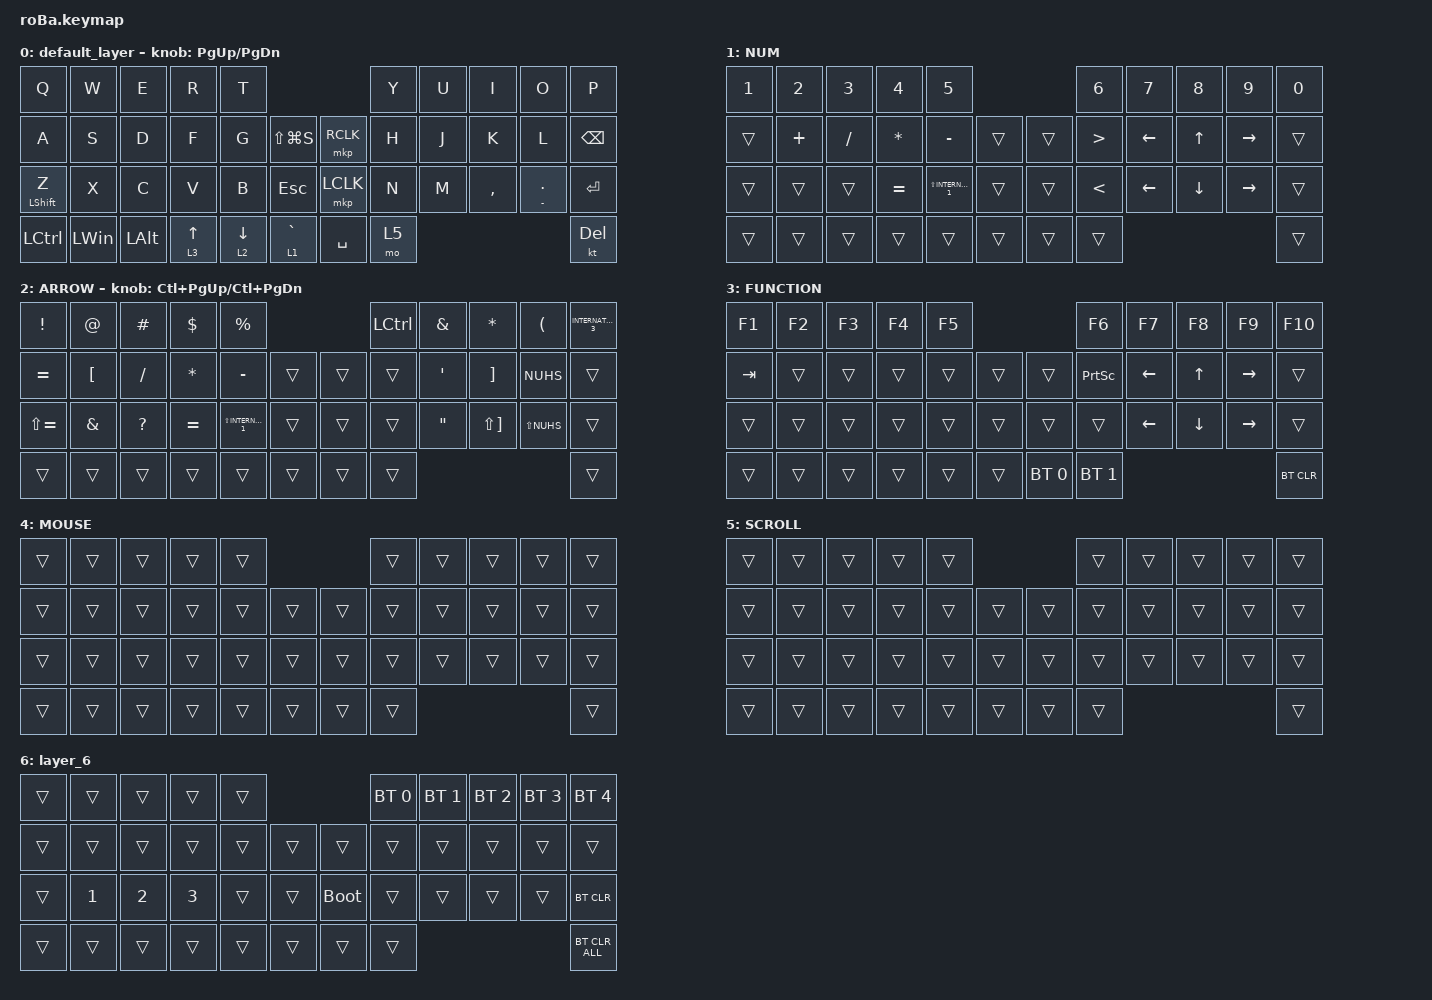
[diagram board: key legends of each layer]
#include <dt-bindings/zmk/input_transform.h>
#include <behaviors.dtsi>
#include <dt-bindings/zmk/bt.h>
#include <dt-bindings/zmk/keys.h>
#include <dt-bindings/zmk/pointing.h>

&mt {
    flavor = "balanced";
    quick-tap-ms = <0>;
};

&trackball {
    automouse-layer = <4>;
    scroll-layers = <5>;

    // arrows {
    //     layers = <3>;
    //     bindings =
    //         <&kp RIGHT_ARROW>,
    //         <&kp LEFT_ARROW>,
    //         <&kp UP_ARROW>,
    //         <&kp DOWN_ARROW>;
    //     tick = <10>;
    //     wait-ms = <5>;
    //     tap-ms = <5>;
    // };
};

/ {
    combos {
        compatible = "zmk,combos";

        tab {
            bindings = <&kp TAB>;
            key-positions = <11 12>;
        };

        shift_tab {
            bindings = <&kp LS(TAB)>;
            key-positions = <12 13>;
        };

        muhennkann {
            bindings = <&to_layer_0 INT_MUHENKAN>;
            key-positions = <11 10>;
        };

        double_quotation {
            bindings = <&kp DOUBLE_QUOTES>;
            key-positions = <20 21>;
        };

        eq {
            bindings = <&kp EQUAL>;
            key-positions = <24 25>;
        };
    };

    macros {
        to_layer_0: to_layer_0 {
            compatible = "zmk,behavior-macro-one-param";
            #binding-cells = <1>;
            bindings = <&to 0 &macro_param_1to1 &kp MACRO_PLACEHOLDER>;
            label = "TO_LAYER_0";
        };
    };

    behaviors {
        lt_to_layer_0: lt_to_layer_0 {
            compatible = "zmk,behavior-hold-tap";
            label = "LAYER_TAP_TO_0";
            bindings = <&mo>, <&to_layer_0>;

            #binding-cells = <2>;
            tapping-term-ms = <200>;
        };
    };

    keymap {
        compatible = "zmk,keymap";

        default_layer {
            bindings = <
&kp Q             &kp W         &kp E         &kp R           &kp T                                           &kp Y  &kp U  &kp I      &kp O          &kp P
&kp A             &kp S         &kp D         &kp F           &kp G             &kp LS(LG(S))      &mkp RCLK  &kp H  &kp J  &kp K      &kp L          &kp BACKSPACE
&mt LEFT_SHIFT Z  &kp X         &kp C         &kp V           &kp B             &kp ESCAPE         &mkp LCLK  &kp N  &kp M  &kp COMMA  &mt MINUS DOT  &kp ENTER
&kp LCTRL         &kp LEFT_WIN  &kp LEFT_ALT  &lt 3 UP_ARROW  &lt 2 DOWN_ARROW  &lt 1 GRAVE        &kp SPACE  &mo 5                                   &kt DELETE
            >;

            sensor-bindings = <&inc_dec_kp PG_UP PAGE_DOWN>;
        };

        NUM {
            bindings = <
&kp NUMBER_1  &kp NUMBER_2  &kp NUMBER_3  &kp NUMBER_4  &kp NUMBER_5                                 &kp NUMBER_6      &kp NUMBER_7  &kp NUMBER_8  &kp NUMBER_9  &kp NUMBER_0
&trans        &kp PLUS      &kp SLASH     &kp ASTERISK  &kp MINUS                &trans      &trans  &kp GREATER_THAN  &kp LEFT      &kp UP_ARROW  &kp RIGHT     &trans
&trans        &trans        &trans        &kp EQUAL     &kp LS(INTERNATIONAL_1)  &trans      &trans  &kp LESS_THAN     &kp LEFT      &kp DOWN      &kp RIGHT     &trans
&trans        &trans        &trans        &trans        &trans                   &trans      &trans  &trans                                                      &trans
            >;
        };

        ARROW {
            bindings = <
&kp EXCLAMATION  &kp AT_SIGN       &kp HASH      &kp DOLLAR    &kp PERCENT                                  &kp LCTRL  &kp AMPERSAND      &kp ASTERISK           &kp LEFT_PARENTHESIS  &kp INTERNATIONAL_3
&kp EQUAL        &kp LEFT_BRACKET  &kp SLASH     &kp ASTERISK  &kp MINUS                &trans      &trans  &trans     &kp SQT            &kp RIGHT_BRACKET      &kp NUHS              &trans
&kp LS(EQUAL)    &kp AMPERSAND     &kp QUESTION  &kp EQUAL     &kp LS(INTERNATIONAL_1)  &trans      &trans  &trans     &kp DOUBLE_QUOTES  &kp LS(RIGHT_BRACKET)  &kp LS(NUHS)          &trans
&trans           &trans            &trans        &trans        &trans                   &trans      &trans  &trans                                                                     &trans
            >;

            sensor-bindings = <&inc_dec_kp LC(PAGE_UP) LC(PAGE_DOWN)>;
        };

        FUNCTION {
            bindings = <
&kp F1   &kp F2  &kp F3  &kp F4  &kp F5                            &kp F6        &kp F7    &kp F8          &kp F9     &kp F10
&kp TAB  &trans  &trans  &trans  &trans  &trans      &trans        &kp PSCRN     &kp LEFT  &kp UP_ARROW    &kp RIGHT  &trans
&trans   &trans  &trans  &trans  &trans  &trans      &trans        &trans        &kp LEFT  &kp DOWN_ARROW  &kp RIGHT  &trans
&trans   &trans  &trans  &trans  &trans  &trans      &bt BT_SEL 0  &bt BT_SEL 1                                       &bt BT_CLR
            >;
        };

        MOUSE {
            bindings = <
&trans  &trans  &trans  &trans  &trans                      &trans  &trans  &trans  &trans  &trans
&trans  &trans  &trans  &trans  &trans  &trans      &trans  &trans  &trans  &trans  &trans  &trans
&trans  &trans  &trans  &trans  &trans  &trans      &trans  &trans  &trans  &trans  &trans  &trans
&trans  &trans  &trans  &trans  &trans  &trans      &trans  &trans                          &trans
            >;
        };

        SCROLL {
            bindings = <
&trans  &trans  &trans  &trans  &trans                      &trans  &trans  &trans  &trans  &trans
&trans  &trans  &trans  &trans  &trans  &trans      &trans  &trans  &trans  &trans  &trans  &trans
&trans  &trans  &trans  &trans  &trans  &trans      &trans  &trans  &trans  &trans  &trans  &trans
&trans  &trans  &trans  &trans  &trans  &trans      &trans  &trans                          &trans
            >;
        };

        layer_6 {
            bindings = <
&trans  &trans        &trans        &trans        &trans                           &bt BT_SEL 0  &bt BT_SEL 1  &bt BT_SEL 2  &bt BT_SEL 3  &bt BT_SEL 4
&trans  &trans        &trans        &trans        &trans  &trans      &trans       &trans        &trans        &trans        &trans        &trans
&trans  &kp NUMBER_1  &kp NUMBER_2  &kp NUMBER_3  &trans  &trans      &bootloader  &trans        &trans        &trans        &trans        &bt BT_CLR
&trans  &trans        &trans        &trans        &trans  &trans      &trans       &trans                                                  &bt BT_CLR_ALL
            >;
        };
    };
};
